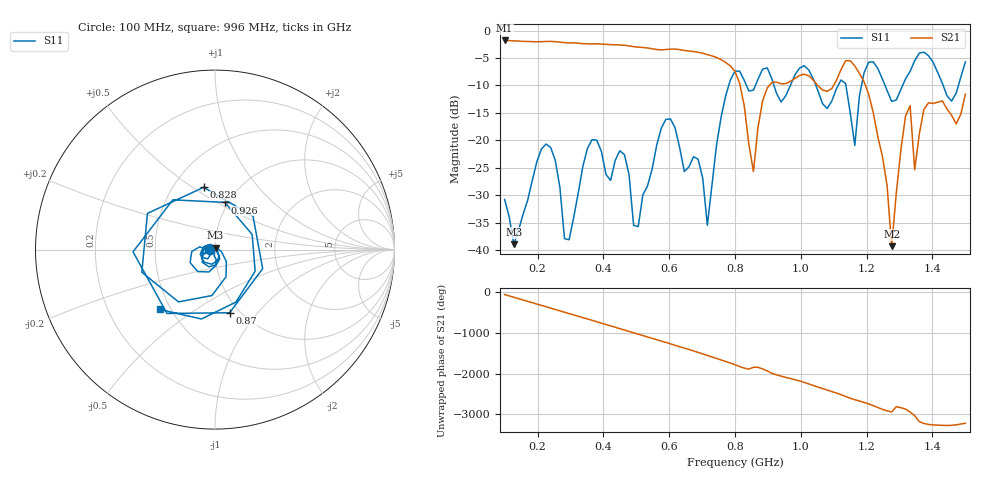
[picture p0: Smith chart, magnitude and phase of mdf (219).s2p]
! NanoVNA-App
! Date: 2025-09-25 15:40:08
! Start: 100MHz Stop: 1,5GHz Points: 101
! S-Parameter data: F S11 S21 S12 S22
# Hz S RI R 50
!  Frequency  S11_Real  S11_Imag  S21_Real  S21_Imag  S12_Real  S12_Imag  S22_Real  S22_Imag
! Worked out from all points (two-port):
!   101 points, 100 MHz to 1.5 GHz, reference 50 ohm
!   highest |S21| = -1.80 dB at 100 MHz (marker M1); lowest = -39.3 dB at 1.276 GHz (marker M2)
!   |S21| within 3 dB of the highest: start of sweep to 739.1 MHz
!   lowest |S11| = -39.0 dB at 128 MHz (marker M3), VSWR 1.02, Z = 50.3 + j1.08 ohm
!   |S11| at or under -10 dB: start of sweep to 781 MHz; 918.4 MHz to 968.3 MHz (49.84 MHz wide, 5.28 % of centre); 1.046 GHz to 1.113 GHz (67.67 MHz wide, 6.27 % of centre) (the widest 3 of 7)
!   S12 and S22 are empty: the file has one direction only
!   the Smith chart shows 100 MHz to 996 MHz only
!   S11 on the Smith chart (normalised r, x): 100 MHz: 0.94, -0.01; 828 MHz: 0.70, +0.55; 870 MHz: 0.90, -0.73; 926 MHz: 0.96, +0.55; 996 MHz: 0.44, -0.37
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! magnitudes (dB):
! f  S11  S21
! 100 MHz  -30.8  -1.8
! 128 MHz  -39.0  -1.9
! 212 MHz  -21.6  -2.0
! 282 MHz  -37.9  -2.2
! 338 MHz  -24.7  -2.4
! 464 MHz  -22.6  -2.7
! 506 MHz  -35.7  -3.0
! 576 MHz  -17.8  -3.5
! 716 MHz  -35.5  -4.4
! 800 MHz  -7.4  -7.5
! 828 MHz  -9.1  -13.7
! 856 MHz  -10.9  -25.7
! 870 MHz  -8.8  -17.6
! 926 MHz  -11.4  -9.4
! 996 MHz  -6.9  -8.2
! 1.038 GHz  -8.8  -9.0
! 1.164 GHz  -20.9  -6.4
! 1.192 GHz  -7.7  -9.3
! 1.276 GHz  -12.9  -39.3
! 1.332 GHz  -7.4  -13.7
! 1.346 GHz  -5.5  -25.4
! 1.5 GHz  -5.7  -11.6
